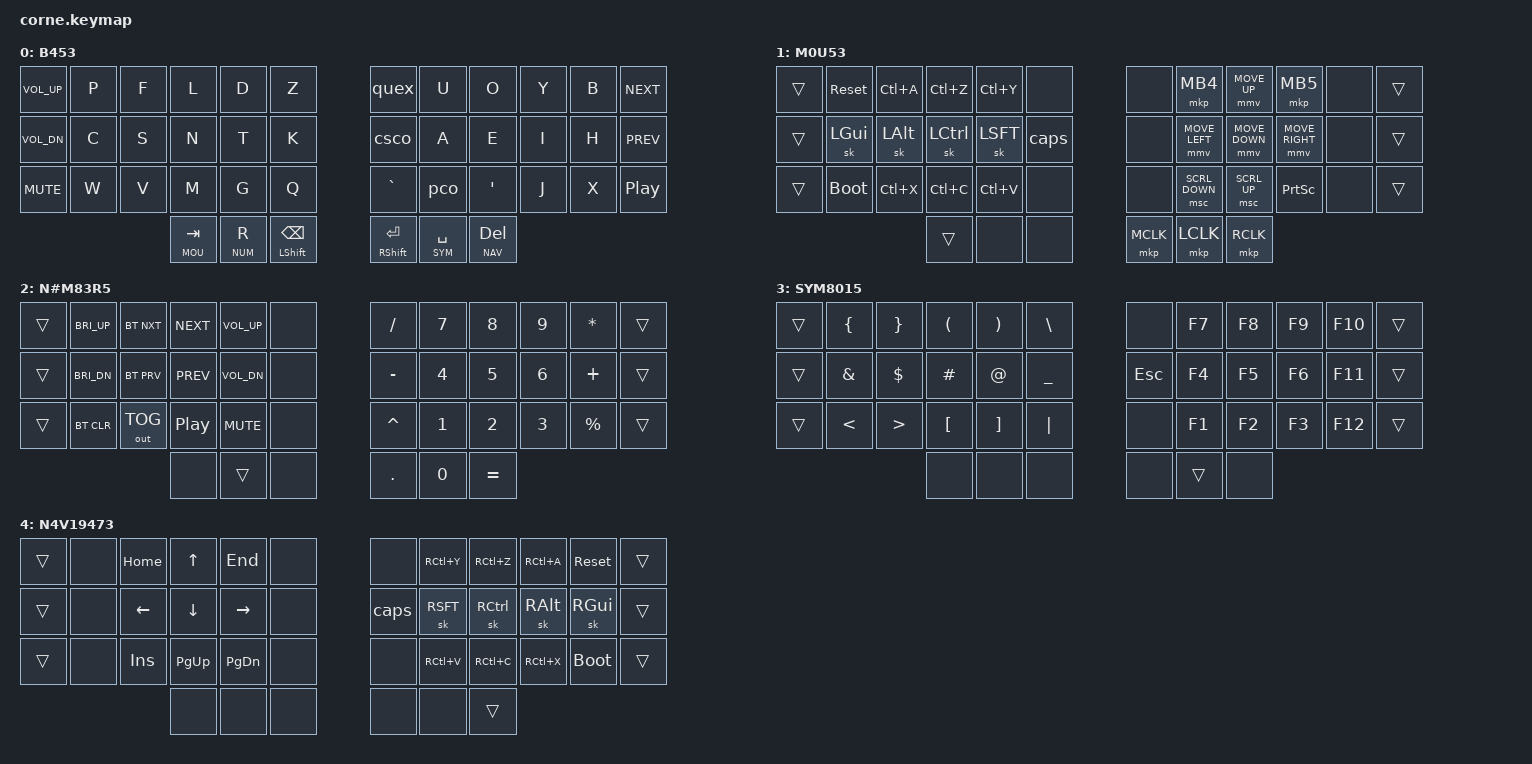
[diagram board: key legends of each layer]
/*
 * Copyright (c) 2020 The ZMK Contributors
 *
 * SPDX-License-Identifier: MIT
 */

/*defines*/

#define ZMK_POINTING_DEFAULT_MOVE_VAL 1000  // default: 600
#define ZMK_POINTING_DEFAULT_SCRL_VAL 100   // default: 10 without smooth scrolling
#include <behaviors.dtsi>
#include <dt-bindings/zmk/pointing.h>
#include <dt-bindings/zmk/keys.h>
#include <dt-bindings/zmk/bt.h>
#include <dt-bindings/zmk/outputs.h>

#define BASE 0
#define MOU  1
#define NUM  2
#define SYM  3
#define NAV  4
#define HYPER LS(LC(LG(LALT)))
#define MEH   LS(LC(LALT))

/*mouse keys*/

&mmv {
    time-to-max-speed-ms = <400>;
    acceleration-exponent = <1>;
     };

/*sticky keys*/

&sk {
    release-after-ms = <1000>;
    ignore-modifiers;
    quick-release;
    };

/{

    behaviors {

/*capsword*/

       caps: capsword {
            compatible = "zmk,behavior-caps-word";
            display-name = "CAPSWORD";
            #binding-cells = <0>;
            continue-list = <UNDER MINUS BSPC DEL>;
                      };

/*modmorphs*/

        csco: comma_semicolon {
            compatible = "zmk,behavior-mod-morph";
            display-name = "COMMA_SEMICOLON";
            #binding-cells = <0>;
            bindings = <&kp COMMA>, <&kp SEMI>;
            mods = <(MOD_LSFT|MOD_RSFT)>;
                              };

        pco: period_colon {
            compatible = "zmk,behavior-mod-morph";
            display-name = "PERIOD_COLON";
            #binding-cells = <0>;
            bindings = <&kp DOT>, <&kp COLON>;
            mods = <(MOD_LSFT|MOD_RSFT)>;
                          };

        quex: question_exclamation {
            compatible = "zmk,behavior-mod-morph";
            display-name = "QUESTION_EXCLAMATION";
            #binding-cells = <0>;
            bindings = <&kp QMARK>, <&kp EXCL>;
            mods = <(MOD_LSFT|MOD_RSFT)>;
                                   };

        minun: minus_underscore {
            compatible = "zmk,behavior-mod-morph";
            display-name = "MINUS_UNDERSCORE";
            #binding-cells = <0>;
            bindings = <&kp MINUS>, <&kp UNDER>;
            mods = <(MOD_LSFT|MOD_RSFT)>;
                          };

/*mod holdtap*/

        mht: mod_holdtap {
            compatible = "zmk,behavior-hold-tap";
            display-name = "MOD_HOLDTAP";
            #binding-cells = <2>;
            flavor = "balanced";
            tapping-term-ms = <200>;
            quick-tap-ms = <200>;
            require-prior-idle-ms = <125>;
            bindings = <&kp>, <&kp>;
                           };

/*layer holdtap*/

        lht: layer_holdtap {
            compatible = "zmk,behavior-hold-tap";
            display-name = "LAYER_HOLDTAP";
            #binding-cells = <2>;
            flavor = "balanced";
            tapping-term-ms = <200>;
            quick-tap-ms = <200>;
            require-prior-idle-ms = <125>;
            bindings = <&mo>, <&kp>;
                           };
             };

   keymap {
         compatible = "zmk,keymap";
            base_layer {
                  display-name = "B453";
                  bindings = <
//  ___________________________________________________________________________________       ___________________________________________________________________________________
// |             |             |             |             |             |             ||  ||             |             |             |             |             |             |
     &kp C_VOL_UP     &kp P         &kp F         &kp L         &kp D         &kp Z              &quex         &kp U         &kp O         &kp Y         &kp B      &kp C_NEXT
// |_____________|_____________|_____________|_____________|_____________|_____________||  ||_____________|_____________|_____________|_____________|_____________|_____________|
// |             |             |             |             |             |             ||  ||             |             |             |             |             |             |
     &kp C_VOL_DN     &kp C         &kp S         &kp N         &kp T         &kp K              &csco         &kp A         &kp E         &kp I         &kp H      &kp C_PREV
// |_____________|_____________|_____________|_____________|_____________|_____________||  ||_____________|_____________|_____________|_____________|_____________|_____________|
// |             |             |             |             |             |             ||  ||             |             |             |             |             |             |
      &kp C_MUTE      &kp W         &kp V         &kp M         &kp G         &kp Q            &kp GRAVE       &pco         &kp APOS       &kp J         &kp X       &kp C_PP
// |_____________|_____________|_____________|_____________|_____________|_____________||  ||_____________|_____________|_____________|_____________|_____________|_____________|
//                                           |             |             |             ||  ||             |             |             |
                                               &lht MOU TAB   &lht NUM R  &mht LSHFT BSPC  &mht RSHFT ENTER &lht SYM SPACE &lht NAV DEL
//                                           |_____________|_____________|_____________||  ||_____________|_____________|_____________|                  
                             >;
                       };
            mouse_layer {
                    display-name = "M0U53";
                    bindings = <
//  ___________________________________________________________________________________       ___________________________________________________________________________________
// |             |             |             |             |             |             ||  ||             |             |             |             |             |             |
       &trans       &sys_reset    &kp LC(A)     &kp LC(Z)     &kp LC(Y)       &none              &none        &mkp MB4    &mmv MOVE_UP    &mkp MB5       &none        &trans
// |_____________|_____________|_____________|_____________|_____________|_____________||  ||_____________|_____________|_____________|_____________|_____________|_____________|
// |             |             |             |             |             |             ||  ||             |             |             |             |             |             |
       &trans       &sk LGUI      &sk LALT      &sk LCTRL     &sk LSFT        &caps              &none    &mmv MOVE_LEFT &mmv MOVE_DOWN &mmv MOVE_RIGHT  &none        &trans
// |_____________|_____________|_____________|_____________|_____________|_____________||  ||_____________|_____________|_____________|_____________|_____________|_____________|
// |             |             |             |             |             |             ||  ||             |             |             |             |             |             |
       &trans      &bootloader    &kp LC(X)     &kp LC(C)     &kp LC(V)       &none              &none     &msc SCRL_DOWN &msc SCRL_UP   &kp PSCRN       &none        &trans
// |_____________|_____________|_____________|_____________|_____________|_____________||  ||_____________|_____________|_____________|_____________|_____________|_____________|
//                                           |             |             |             ||  ||             |             |             |
                                                 &trans         &none         &none           &mkp MCLK     &mkp LCLK     &mkp RCLK
//                                           |_____________|_____________|_____________||  ||_____________|_____________|_____________|
                               >;
                        };
            number_layer {
                  display-name = "N#M83R5";
                  bindings = <

//  ___________________________________________________________________________________       ___________________________________________________________________________________
// |             |             |             |             |             |             ||  ||             |             |             |             |             |             |
       &trans     &kp C_BRI_UP   &bt BT_NXT    &kp C_NEXT   &kp C_VOL_UP      &none            &kp FSLH        &kp N7        &kp N8        &kp N9      &kp ASTRK       &trans
// |_____________|_____________|_____________|_____________|_____________|_____________||  ||_____________|_____________|_____________|_____________|_____________|_____________|
// |             |             |             |             |             |             ||  ||             |             |             |             |             |             |
       &trans     &kp C_BRI_DN   &bt BT_PRV    &kp C_PREV   &kp C_VOL_DN      &none            &kp MINUS       &kp N4        &kp N5        &kp N6      &kp PLUS        &trans
// |_____________|_____________|_____________|_____________|_____________|_____________||  ||_____________|_____________|_____________|_____________|_____________|_____________|
// |             |             |             |             |             |             ||  ||             |             |             |             |             |             |
       &trans      &bt BT_CLR   &out OUT_TOG    &kp C_PP     &kp C_MUTE       &none            &kp CARET       &kp N1        &kp N2        &kp N3      &kp PRCNT       &trans
// |_____________|_____________|_____________|_____________|_____________|_____________||  ||_____________|_____________|_____________|_____________|_____________|_____________|
//                                           |             |             |             ||  ||             |             |             |
                                                  &none         &trans        &none             &kp DOT        &kp N0      &kp EQUAL
//                                           |_____________|_____________|_____________||  ||_____________|_____________|_____________|
                             >;
                         };

            symbol_layer {
                    display-name = "SYM8015";
                    bindings = <

//  ___________________________________________________________________________________       ___________________________________________________________________________________
// |             |             |             |             |             |             ||  ||             |             |             |             |             |             |
       &trans       &kp LBRC      &kp RBRC      &kp LPAR      &kp RPAR      &kp BSLH             &none        &kp F7        &kp F8        &kp F9        &kp F10       &trans
// |_____________|_____________|_____________|_____________|_____________|_____________||  ||_____________|_____________|_____________|_____________|_____________|_____________|
// |             |             |             |             |             |             ||  ||             |             |             |             |             |             |
       &trans       &kp AMPS      &kp DLLR      &kp HASH       &kp AT       &kp UNDER           &kp ESC       &kp F4        &kp F5        &kp F6        &kp F11       &trans
// |_____________|_____________|_____________|_____________|_____________|_____________||  ||_____________|_____________|_____________|_____________|_____________|_____________|
// |             |             |             |             |             |             ||  ||             |             |             |             |             |             |
       &trans        &kp LT        &kp GT       &kp LBKT      &kp RBKT      &kp PIPE             &none        &kp F1        &kp F2        &kp F3        &kp F12       &trans
// |_____________|_____________|_____________|_____________|_____________|_____________||  ||_____________|_____________|_____________|_____________|_____________|_____________|
//                                           |             |             |             ||  ||             |             |             |
                                                  &none         &none         &none              &none        &trans         &none
//                                           |_____________|_____________|_____________||  ||_____________|_____________|_____________|
                               >;
                        };

            navigation_layer {
                    display-name = "N4V19473";
                    bindings = <
//  ___________________________________________________________________________________       ___________________________________________________________________________________
// |             |             |             |             |             |             ||  ||             |             |             |             |             |             |
       &trans         &none       &kp HOME       &kp UP        &kp END        &none              &none       &kp RC(Y)     &kp RC(Z)     &kp RC(A)     &sys_reset     &trans
// |_____________|_____________|_____________|_____________|_____________|_____________||  ||_____________|_____________|_____________|_____________|_____________|_____________|
// |             |             |             |             |             |             ||  ||             |             |             |             |             |             |
       &trans         &none        &kp LEFT     &kp DOWN      &kp RIGHT       &none              &caps       &sk RSFT      &sk RCTRL     &sk RALT      &sk RGUI       &trans
// |_____________|_____________|_____________|_____________|_____________|_____________||  ||_____________|_____________|_____________|_____________|_____________|_____________|
// |             |             |             |             |             |             ||  ||             |             |             |             |             |             |
       &trans         &none        &kp INS     &kp PG_UP      &kp PG_DN       &none              &none       &kp RC(V)     &kp RC(C)     &kp RC(X)    &bootloader     &trans
// |_____________|_____________|_____________|_____________|_____________|_____________||  ||_____________|_____________|_____________|_____________|_____________|_____________|
//                                           |             |             |             ||  ||             |             |             |
                                                  &none         &none         &none              &none         &none        &trans
//                                           |_____________|_____________|_____________||  ||_____________|_____________|_____________|
                               >;
                             };
          };
  };
